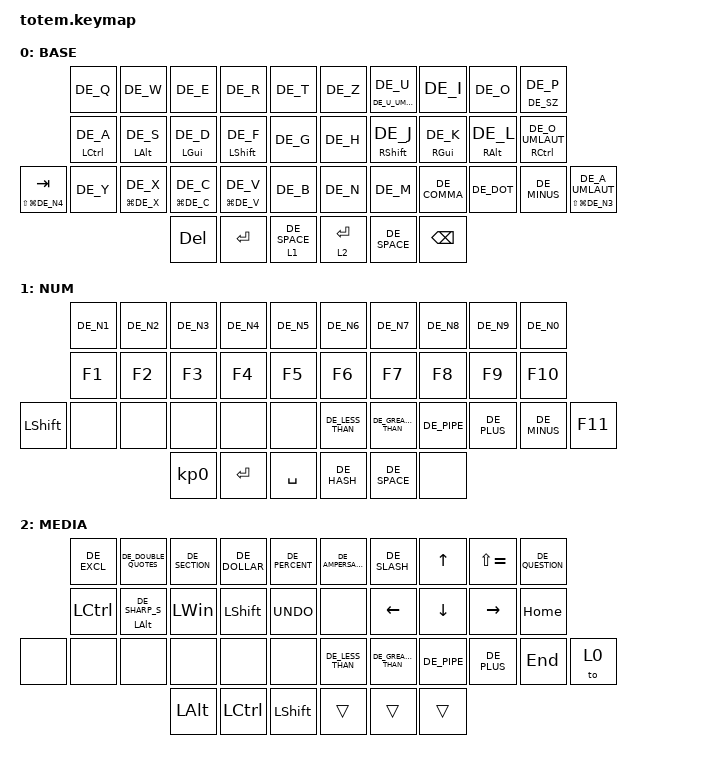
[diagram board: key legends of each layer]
//
//                                                        ▀▀▀▀▀     ▀▀▀▀▀          ▀▀█▀▀
//                                                        ▄▀▀▀▄  ▄  ▄▀▀▀▄  ▄  ▄▀▀▀▄  █  ▄▀▀▀▄
//                                                        █   █  █  █   █  █  █   █  █  █   █
//                                                         ▀▀▀   █   ▀▀▀   █   ▀▀▀   ▀   ▀▀▀
//                                                               █      ▄▄▄█▄▄▄    █   █  
//                                                               ▀      █  █  █     █▄█
//                                                             ▀▀▀▀▀    █  █  █      ▀
//                                                                      ▀  ▀  ▀
//
// ▄▄▄▄▄▄▄▄▄▄▄▄▄▄▄▄▄▄▄▄▄▄▄▄▄▄▄▄▄▄▄▄▄▄▄▄▄▄▄▄▄▄▄▄▄▄▄▄▄▄▄▄▄▄▄▄▄▄▄▄▄▄▄▄▄▄▄▄▄▄▄▄▄▄▄▄▄▄▄▄▄▄▄▄▄▄▄▄▄▄▄▄▄▄▄▄▄▄▄▄▄▄▄▄▄▄▄▄▄▄▄▄▄▄▄▄▄▄▄▄▄▄▄▄▄▄▄▄▄▄▄▄▄▄▄▄▄▄▄▄▄▄▄▄▄▄▄▄▄

#include "keys_de.h"
#include <behaviors.dtsi>
#include <dt-bindings/zmk/keys.h>

#define BASE      0
#define NUM       1
#define MEDIA     2
#define FUNCTION  3
#define GAME      4

&mt {
    quick-tap-ms = <100>;
    global-quick-tap;
    flavor = "tap-preferred";
    tapping-term-ms = <170>;
};

/ {
    behaviors {
        hm: homerow_mods {
            compatible = "zmk,behavior-hold-tap";
            label = "HOMEROW_MODS";
            #binding-cells = <2>;
            tapping-term-ms = <300>;			// <---[[produces tap if held longer than tapping-term-ms]]
            quick_tap_ms = <0>;
            flavor = "tap-preferred";
            bindings = <&kp>, <&kp>;

            quick-tap-ms = <0>;
        };

        lc: layer_change {
            compatible = "zmk,behavior-hold-tap";
            #binding-cells = <2>;
            flavor = "hold-preferred";
            tapping-term-ms = <200>;
            quick-tap-ms = <200>;
            require-prior-idle-ms = <125>;
            bindings = <&to>, <&kp>;
        };

        sc: sticky_layer_change {
            compatible = "zmk,behavior-hold-tap";
            #binding-cells = <2>;
            flavor = "hold-preferred";
            tapping-term-ms = <200>;
            quick-tap-ms = <200>;
            require-prior-idle-ms = <125>;
            bindings = <&sl>, <&kp>;
        };

        dl: dualayer_change {
            compatible = "zmk,behavior-hold-tap";
            #binding-cells = <2>;
            flavor = "hold-preferred";
            tapping-term-ms = <200>;
            quick-tap-ms = <200>;
            require-prior-idle-ms = <125>;
            bindings = <&to>, <&sl>;
        };

        ts: temp_sticky {
            compatible = "zmk,behavior-hold-tap";
            #binding-cells = <2>;
            flavor = "hold-preferred";
            tapping-term-ms = <200>;
            quick-tap-ms = <200>;
            require-prior-idle-ms = <125>;
            bindings = <&mo>, <&to>;
        };
    };

    combos {
        compatible = "zmk,combos";

        combo_esc {
            timeout-ms = <50>;
            key-positions = <0 1>;
            layers = <0 1 2>;
            bindings = <&kp ESC>;
        };

        iterm {
            bindings = <&iterm>;
            key-positions = <4 5>;
        };

        edge {
            bindings = <&edge>;
            key-positions = <14 15>;
        };

        finder {
            bindings = <&finder>;
            key-positions = <25 26>;
        };

        lock {
            bindings = <&kp LC(LG(DE_Q))>;
            key-positions = <20 31>;
        };

        /* 			combo_copy {
                timeout-ms = <50>;
                key-positions = <5 31 24>;
                bindings = <&bootloader>;
            };
			combo_paste {
                timeout-ms = <50>;
                key-positions = <5 31 12>;
                bindings = <&bootloader>;
            }; */
    };

    macros {
        iterm: iterm {
            compatible = "zmk,behavior-macro";
            #binding-cells = <0>;
            bindings = <&kp LG(DE_SPACE) &kp I &kp T &kp E &kp R &kp M &kp RET>;
            label = "ITERM";
        };

        edge: edge {
            compatible = "zmk,behavior-macro";
            #binding-cells = <0>;
            bindings = <&kp LG(DE_SPACE) &kp E &kp D &kp G &kp E &kp RET>;
            label = "EDGE";
        };

        finder: finder {
            compatible = "zmk,behavior-macro";
            #binding-cells = <0>;
            bindings = <&kp LG(DE_SPACE) &kp F &kp I &kp N &kp D &kp E &kp R &kp RET>;
            label = "FINDER";
        };
    };

    keymap {
        compatible = "zmk,keymap";

        // ▄▄▄▄▄▄▄▄▄▄▄▄▄▄▄▄▄▄▄▄▄▄▄▄▄▄▄▄▄▄▄▄▄▄▄▄▄▄▄▄▄▄▄▄▄▄▄▄▄▄▄▄▄▄▄▄▄▄▄▄▄▄▄▄▄▄▄▄▄▄▄▄▄▄▄▄▄▄▄▄▄▄▄▄▄▄▄▄▄▄▄▄▄▄▄▄▄▄▄▄▄▄▄▄▄▄▄▄▄▄▄▄▄▄▄▄▄▄▄▄▄▄▄▄▄▄▄▄▄▄▄▄▄▄▄▄▄▄▄▄▄▄▄▄▄▄▄▄▄

        base_layer {
            // ┏━━━━━━━━━━━━━━━━━━━━━━━━━━━━━━━━━━━━━━━┓

            label = "BASE";

            // ┗━━━━━━━━━━━━━━━━━━━━━━━━━━━━━━━━━━━━━━━┛
            //             ┌─────────┬─────────┬─────────┬─────────┬─────────┐                     ┌─────────┬─────────┬─────────┬─────────┬─────────┐
            //             │    Q    │    W    │    F    │    P    │    B    │                     │    J    │    L    │    U    │    Y    │    ;    │   
            //             ├─────────┼─────────┼─────────┼─────────┼─────────┤                     ├─────────┼─────────┼─────────┼─────────┼─────────┤
            //             │    A    │    R    │    S    │    T    │    G    │                     │    M    │    N    │    E    │    I    │    O    │
            //   ┌─────────┼─────────┼─────────┼─────────┼─────────┼─────────┤                     ├─────────┼─────────┼─────────┼─────────┼─────────┼─────────┐
            //   │   TAB   │    Z    │    X    │    C    │    D    │    V    │                     │    K    │    H    │    ,    │    .    │    /    │    '    │
            //   └─────────┴─────────┴─────────┴─────────┼─────────┼─────────┼──────────┬┬─────────┼─────────┼─────────┼─────────┴─────────┴─────────┴─────────┘
            //                                           │   COPY  │  PASTE  │  SPACE   ││  ENTER  │  BSPCE  │  DITTO  │  
            //                                           └─────────┴─────────┴──────────┘└─────────┴─────────┴─────────┘

            bindings = <
                       &kp DE_Q               &kp DE_W           &kp DE_E           &kp DE_R             &kp DE_T          &kp DE_Z     &mt DE_U_UMLAUT DE_U  &kp DE_I            &kp DE_O            &mt DE_SZ DE_P
                       &hm LEFT_CONTROL DE_A  &hm LEFT_ALT DE_S  &hm LEFT_GUI DE_D  &hm LEFT_SHIFT DE_F  &kp DE_G          &kp DE_H     &hm RIGHT_SHIFT DE_J  &hm RIGHT_GUI DE_K  &hm RIGHT_ALT DE_L  &hm RIGHT_CONTROL DE_O_UMLAUT
&mt LS(LG(DE_N4)) TAB  &kp DE_Y               &mt LG(DE_X) DE_X  &mt LG(DE_C) DE_C  &mt LG(DE_V) DE_V    &kp DE_B          &kp DE_N     &kp DE_M              &kp DE_COMMA        &kp DE_DOT          &kp DE_MINUS                   &mt LS(LG(DE_N3)) DE_A_UMLAUT
                                                                 &kp DELETE         &kp ENTER            &lt 1 DE_SPACE    &lt 2 ENTER  &kp DE_SPACE          &kp BACKSPACE
            >;
        };

        // ▄▄▄▄▄▄▄▄▄▄▄▄▄▄▄▄▄▄▄▄▄▄▄▄▄▄▄▄▄▄▄▄▄▄▄▄▄▄▄▄▄▄▄▄▄▄▄▄▄▄▄▄▄▄▄▄▄▄▄▄▄▄▄▄▄▄▄▄▄▄▄▄▄▄▄▄▄▄▄▄▄▄▄▄▄▄▄▄▄▄▄▄▄▄▄▄▄▄▄▄▄▄▄▄▄▄▄▄▄▄▄▄▄▄▄▄▄▄▄▄▄▄▄▄▄▄▄▄▄▄▄▄▄▄▄▄▄▄▄▄▄▄▄▄▄▄▄▄▄

        num_layer {
            // ┏━━━━━━━━━━━━━━━━━━━━━━━━━━━━━━━━━━━━━━━┓

            label = "NUM";

            // ┗━━━━━━━━━━━━━━━━━━━━━━━━━━━━━━━━━━━━━━━┛
            //             ┌─────────┬─────────┬─────────┬─────────┬─────────┐                     ┌─────────┬─────────┬─────────┬─────────┬─────────┐
            //             │    -    │    7    │    8    │    9    │    /    │                     │    /    │    7    │    8    │    9    │    -    │
            //             ├─────────┼─────────┼─────────┼─────────┼─────────┤                     ├─────────┼─────────┼─────────┼─────────┼─────────┤
            //             │    +    │    4    │    5    │    6    │    *    │                     │    *    │    4    │    5    │    6    │    +    │
            //   ┌─────────┼─────────┼─────────┼─────────┼─────────┼─────────┤                     ├─────────┼─────────┼─────────┼─────────┼─────────┼─────────┐
            //   │  PRINT  │    .    │    1    │    2    │    3    │ ------- │                     │ ------- │    1    │    2    │    3    │    .    │         │
            //   └─────────┴─────────┴─────────┴─────────┼─────────┼─────────┼──────────┬┬─────────┼─────────┼─────────┼─────────┴─────────┴─────────┴─────────┘
            //                                           │    0    │  ENTER  │  SPACE   ││  SPACE  │  ENTER  │    0    │ 
            //                                           └─────────┴─────────┴──────────┘└─────────┴─────────┴─────────┘

            bindings = <
                &kp DE_N1  &kp DE_N2  &kp DE_N3  &kp DE_N4  &kp DE_N5    &kp DE_N6         &kp DE_N7            &kp DE_N8    &kp DE_N9    &kp DE_N0
                &kp F1     &kp F2     &kp F3     &kp F4     &kp F5       &kp F6            &kp F7               &kp F8       &kp F9       &kp F10
&kp LEFT_SHIFT  &none      &none      &none      &none      &none        &kp DE_LESS_THAN  &kp DE_GREATER_THAN  &kp DE_PIPE  &kp DE_PLUS  &kp DE_MINUS  &kp F11
                                      &kp KP_N0  &kp ENTER  &kp SPACE    &kp DE_HASH       &kp DE_SPACE         &none
            >;
        };

        // ▄▄▄▄▄▄▄▄▄▄▄▄▄▄▄▄▄▄▄▄▄▄▄▄▄▄▄▄▄▄▄▄▄▄▄▄▄▄▄▄▄▄▄▄▄▄▄▄▄▄▄▄▄▄▄▄▄▄▄▄▄▄▄▄▄▄▄▄▄▄▄▄▄▄▄▄▄▄▄▄▄▄▄▄▄▄▄▄▄▄▄▄▄▄▄▄▄▄▄▄▄▄▄▄▄▄▄▄▄▄▄▄▄▄▄▄▄▄▄▄▄▄▄▄▄▄▄▄▄▄▄▄▄▄▄▄▄▄▄▄▄▄▄▄▄▄▄▄▄

        movement {
            // ┏━━━━━━━━━━━━━━━━━━━━━━━━━━━━━━━━━━━━━━━┓

            label = "MEDIA";

            // ┗━━━━━━━━━━━━━━━━━━━━━━━━━━━━━━━━━━━━━━━┛
            //             ┌─────────┬─────────┬─────────┬─────────┬─────────┐                    ┌─────────┬─────────┬─────────┬─────────┬─────────┐
            //             │    !    │    @    │    #    │    $    │    %    │                    │    ^    │    &    │    *    │    -    │    +    │   
            //             ├─────────┼─────────┼─────────┼─────────┼─────────┤                    ├─────────┼─────────┼─────────┼─────────┼─────────┤
            //             │    (    │    ←    │    ↑    │    →    │    )    │                    │  PGUP   │    <    │  PLAY   │    >    │   HOME  │
            //   ┌─────────┼─────────┼─────────┼─────────┼─────────┼─────────┤                    ├─────────┼─────────┼─────────┼─────────┼─────────┼─────────┐
            //   │         │    [    │    `    │    ↓    │    _    │    ]    │                    │  PGDWN  │   VOL+  │  MUTE   │   VOL-  │   END   │  TO_0   │
            //   └─────────┴─────────┴─────────┴─────────┼─────────┼─────────┼─────────┬┬─────────┼─────────┼─────────┼─────────┴─────────┴─────────┴─────────┘
            //                                           │   ALT   │  CTRL   │  SHIFT  ││         │         │         │  
            //                                           └─────────┴─────────┴─────────┘└─────────┴─────────┴─────────┘

            bindings = <
       &kp DE_EXCL  &kp DE_DOUBLE_QUOTES     &kp DE_SECTION  &kp DE_DOLLAR   &kp DE_PERCENT    &kp DE_AMPERSAND  &kp DE_SLASH         &kp UP       &kp LS(EQUAL)  &kp DE_QUESTION
       &kp LCTRL    &hm LEFT_ALT DE_SHARP_S  &kp LEFT_WIN    &kp LEFT_SHIFT  &kp K_UNDO        &none             &kp LEFT_ARROW       &kp DOWN     &kp RIGHT      &kp HOME
&none  &none        &none                    &none           &none           &none             &kp DE_LESS_THAN  &kp DE_GREATER_THAN  &kp DE_PIPE  &kp DE_PLUS    &kp END          &to 0
                                             &kp LALT        &kp LCTRL       &kp LSHFT         &trans            &trans               &trans
            >;
        };

        // ▄▄▄▄▄▄▄▄▄▄▄▄▄▄▄▄▄▄▄▄▄▄▄▄▄▄▄▄▄▄▄▄▄▄▄▄▄▄▄▄▄▄▄▄▄▄▄▄▄▄▄▄▄▄▄▄▄▄▄▄▄▄▄▄▄▄▄▄▄▄▄▄▄▄▄▄▄▄▄▄▄▄▄▄▄▄▄▄▄▄▄▄▄▄▄▄▄▄▄▄▄▄▄▄▄▄▄▄▄▄▄▄▄▄▄▄▄▄▄▄▄▄▄▄▄▄▄▄▄▄▄▄▄▄▄▄▄▄▄▄▄▄▄▄▄▄▄▄▄
        // ▄▄▄▄▄▄▄▄▄▄▄▄▄▄▄▄▄▄▄▄▄▄▄▄▄▄▄▄▄▄▄▄▄▄▄▄▄▄▄▄▄▄▄▄▄▄▄▄▄▄▄▄▄▄▄▄▄▄▄▄▄▄▄▄▄▄▄▄▄▄▄▄▄▄▄▄▄▄▄▄▄▄▄▄▄▄▄▄▄▄▄▄▄▄▄▄▄▄▄▄▄▄▄▄▄▄▄▄▄▄▄▄▄▄▄▄▄▄▄▄▄▄▄▄▄▄▄▄▄▄▄▄▄▄▄▄▄▄▄▄▄▄▄▄▄▄▄▄▄		
        // ▄▄▄▄▄▄▄▄▄▄▄▄▄▄▄▄▄▄▄▄▄▄▄▄▄▄▄▄▄▄▄▄▄▄▄▄▄▄▄▄▄▄▄▄▄▄▄▄▄▄▄▄▄▄▄▄▄▄▄▄▄▄▄▄▄▄▄▄▄▄▄▄▄▄▄▄▄▄▄▄▄▄▄▄▄▄▄▄▄▄▄▄▄▄▄▄▄▄▄▄▄▄▄▄▄▄▄▄▄▄▄▄▄▄▄▄▄▄▄▄▄▄▄▄▄▄▄▄▄▄▄▄▄▄▄▄▄▄▄▄▄▄▄▄▄▄▄▄▄		
    };
};
